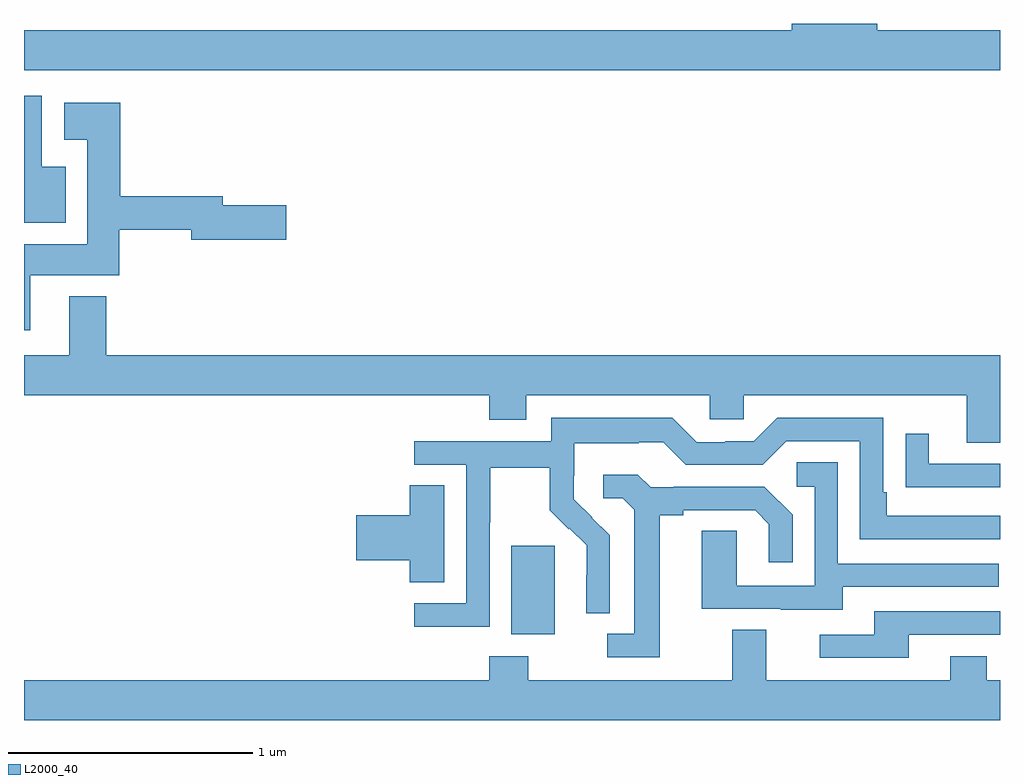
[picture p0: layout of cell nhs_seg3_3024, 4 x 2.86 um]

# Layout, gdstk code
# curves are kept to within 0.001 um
import gdstk
lib = gdstk.Library(unit=1e-6, precision=1e-09)
def R(c, l, rs):  # rectangles x0, y0, x1, y1
    for r in rs: c.add(gdstk.rectangle(r[:2], r[2:], *l))
def P(c, l, *ps):  # polygons
    for p in ps: c.add(gdstk.Polygon(p, *l))
L2000_40 = (2000, 40)

nhs_seg3_3024 = lib.new_cell('nhs_seg3_3024')
R(nhs_seg3_3024, L2000_40, [(268.997,739.898,269.176,740.259)])
P(nhs_seg3_3024, L2000_40, [(271,742.372),(270.496,742.372),(270.496,742.4),(270.146,742.4),(270.146,742.372),(267,742.372),(267,742.208),(271,742.208)],
  [(267.172,741.814),(267.073,741.814),(267.073,742.105),(267,742.105),(267,741.584),(267.172,741.584)],
  [(267.025,741.368),(267.39,741.368),(267.39,741.556),(267.686,741.556),(267.686,741.514),(268.075,741.514),(268.075,741.656),(267.814,741.656),(267.814,741.692),(267.395,741.692),(267.395,742.075),(267.165,742.075),(267.165,741.923),(267.26,741.923),(267.26,741.496),(267,741.496),(267,741.144),(267.025,741.144)],
  [(271,741.04),(267.338,741.04),(267.338,741.283),(267.185,741.283),(267.185,741.04),(267,741.04),(267,740.876),(268.907,740.876),(268.907,740.777),(269.059,740.777),(269.059,740.876),(269.811,740.876),(269.811,740.778),(269.949,740.778),(269.949,740.876),(270.863,740.876),(270.863,740.682),(271,740.682)],
  [(268.908,740.356),(268.911,740.356),(268.911,740.58),(269.155,740.58),(269.155,740.405),(269.232,740.328),(269.235,740.331),(269.306,740.261),(269.306,740.138),(269.304,740.138),(269.304,739.984),(269.4,739.984),(269.4,740.302),(269.254,740.45),(269.254,740.547),(269.256,740.547),(269.256,740.681),(269.519,740.681),(269.519,740.685),(269.619,740.685),(269.712,740.592),(270.027,740.592),(270.123,740.688),(270.426,740.688),(270.426,740.286),(271,740.286),(271,740.382),(270.535,740.382),(270.535,740.479),(270.522,740.479),(270.522,740.784),(270.087,740.784),(269.991,740.688),(269.873,740.688),(269.873,740.685),(269.757,740.685),(269.657,740.785),(269.16,740.785),(269.16,740.688),(268.599,740.688),(268.599,740.592),(268.812,740.592),(268.812,740.025),(268.599,740.025),(268.599,739.927),(268.908,739.927)],
  [(271,740.595),(270.709,740.595),(270.709,740.719),(270.613,740.719),(270.613,740.5),(270.715,740.5),(270.715,740.499),(271,740.499)],
  [(270.355,740.091),(270.995,740.091),(270.995,740.187),(270.336,740.187),(270.336,740.603),(270.168,740.603),(270.168,740.502),(270.24,740.502),(270.24,740.097),(269.922,740.097),(269.922,740.321),(269.777,740.321),(269.777,740.001),(270.101,740.001),(270.101,739.997),(270.355,739.997)],
  [(269.605,740.384),(269.701,740.384),(269.701,740.406),(269.996,740.406),(270.053,740.349),(270.053,740.193),(270.15,740.193),(270.15,740.386),(270.034,740.502),(269.662,740.502),(269.662,740.499),(269.568,740.499),(269.516,740.551),(269.373,740.551),(269.373,740.454),(269.454,740.454),(269.501,740.407),(269.501,739.899),(269.391,739.899),(269.391,739.803),(269.605,739.803)],
  [(268.723,740.507),(268.58,740.507),(268.58,740.384),(268.362,740.384),(268.362,740.201),(268.58,740.201),(268.58,740.11),(268.723,740.11)],
  [(270.625,739.896),(271,739.896),(271,739.992),(270.485,739.992),(270.485,739.896),(270.261,739.896),(270.261,739.8),(270.625,739.8)],
  [(271,739.708),(270.945,739.708),(270.945,739.807),(270.797,739.807),(270.797,739.708),(270.043,739.708),(270.043,739.916),(269.903,739.916),(269.903,739.708),(269.067,739.708),(269.067,739.807),(268.907,739.807),(268.907,739.708),(267,739.708),(267,739.544),(271,739.544)])

lib.write_gds('nhs_seg3_3024.gds')
